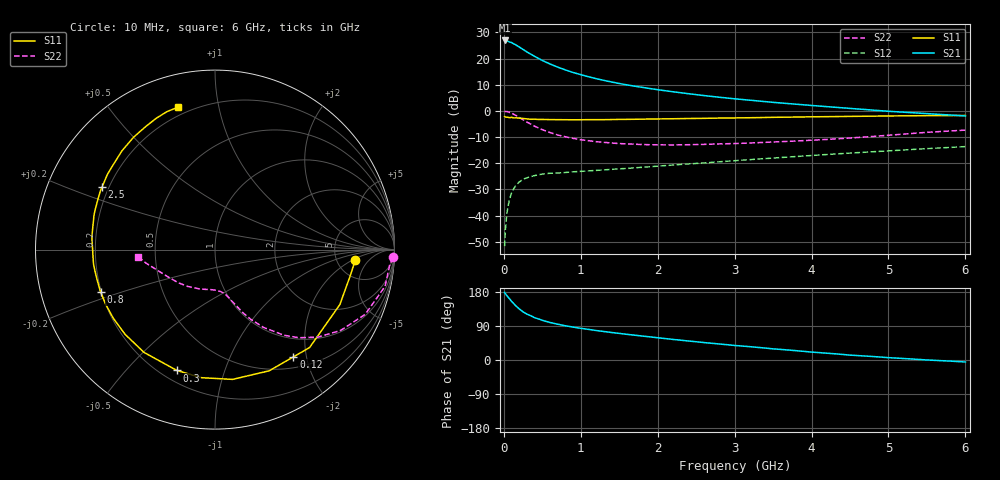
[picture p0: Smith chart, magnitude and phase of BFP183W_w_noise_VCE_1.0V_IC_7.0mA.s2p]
! Infineon Technologies  Discrete & RF Semiconductors
! BFP183W
! VCE =  1.0 V,  IC =  7.0 mA
! Common Emitter S-Parameters:  Jan 2017
# GHz  S  MA  R  50
!  f  S11  S21  S12  S22
! GHz  MAG  ANG  MAG  ANG  MAG  ANG  MAG  ANG
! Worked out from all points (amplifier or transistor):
!   77 points, 10 MHz to 6 GHz, reference 50 ohm
!   highest |S21| = 27.0 dB at 10 MHz (marker M1)
!   |S21| within 3 dB of that: start of sweep to 226.6 MHz
!   unconditionally stable (mu >= 1): 1.805 GHz to 5.125 GHz
!   at 130 MHz: K = 0.12, MSG = 27.7 dB, |S12| = -29.7 dB
!   at 2.2 GHz: K = 1.07, MAG = 12.4 dB, |S12| = -20.7 dB
!   at 6 GHz: K = 0.93, MSG = 5.9 dB, |S12| = -13.6 dB
!   lowest NFmin = 0.82 dB at 450 MHz
!   S11 on the Smith chart (normalised r, x): 10 MHz: 7.61, -2.22; 120 MHz: 0.67, -1.77; 300 MHz: 0.26, -0.70; 800 MHz: 0.20, -0.17; 2.5 GHz: 0.17, +0.25; 6 GHz: 0.16, +0.76
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0.01  0.7842 -4.1  22.27 178.5  0.0026 88.3  0.9927 -2.5
0.02  0.7676 -10.9  22.02 174.9  0.0053 92.5  0.9772 -4.9
0.05  0.7601 -23.8  21.61 167.1  0.0137 78.1  0.9693 -12.2
0.1  0.7586 -46.0  20.29 154.7  0.027 68.6  0.9114 -23.3
0.12  0.7403 -53.8  19.52 150.7  0.0308 64.0  0.8768 -26.9
0.15  0.7397 -65.9  18.55 144.0  0.0368 59.0  0.8319 -32.8
0.2  0.7297 -82.3  16.69 134.8  0.0438 52.9  0.7525 -40.4
0.25  0.7177 -96.1  14.99 127.1  0.0494 46.5  0.678 -46.4
0.3  0.706 -107.5  13.44 121.1  0.0529 42.2  0.6121 -51.2
0.4  0.696 -124.6  11.06 111.6  0.0582 37.1  0.5105 -58.1
0.5  0.6884 -136.7  9.23 104.7  0.062 33.4  0.4385 -62.7
0.6  0.6836 -146.1  7.909 99.0  0.0644 31.4  0.3866 -66.0
0.8  0.6801 -159.6  6.093 90.3  0.0666 30.5  0.3206 -70.3
0.9  0.678 -164.8  5.442 86.8  0.0686 30.5  0.2993 -72.1
1.1  0.6816 -173.1  4.514 80.8  0.0715 31.2  0.2699 -75.0
1.5  0.6893 174.2  3.35 70.2  0.0783 33.3  0.2379 -81.5
2.1  0.7061 159.2  2.435 56.6  0.0903 37.0  0.2245 -93.7
2.5  0.7196 150.9  2.051 48.2  0.0992 38.7  0.2277 -103.3
3.1  0.7386 140.0  1.656 36.8  0.1147 40.1  0.2411 -117.5
4.1  0.7752 124.5  1.241 19.5  0.1439 39.5  0.2806 -140.8
5.1  0.8042 112.9  0.966 5.1  0.176 36.7  0.3519 -162.5
6  0.8198 104.6  0.802 -5.2  0.2081 32.3  0.4304 -174.6
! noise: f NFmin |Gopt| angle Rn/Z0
0.45  0.82  0.16  68  0.11
0.9  0.91  0.21  112  0.1
1.9  1.45  0.39  172  0.07
2.4  1.71  0.45  -173  0.09
